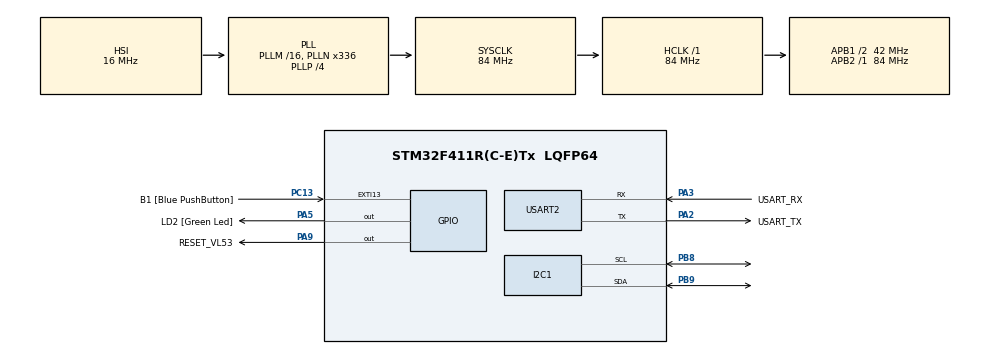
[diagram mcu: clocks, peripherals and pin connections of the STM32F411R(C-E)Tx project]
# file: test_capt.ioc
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Mcu.Family=STM32F4
Mcu.Name=STM32F411R(C-E)Tx
Mcu.Package=LQFP64
NVIC.PriorityGroup=NVIC_PRIORITYGROUP_0
PA13.GPIO_Label=TMS
PA13.Mode=Serial_Wire
PA13.Signal=SYS_JTMS-SWDIO
PA14.GPIO_Label=TCK
PA14.Mode=Serial_Wire
PA14.Signal=SYS_JTCK-SWCLK
PA2.GPIO_Label=USART_TX
PA2.Mode=Asynchronous
PA2.Signal=USART2_TX
PA3.GPIO_Label=USART_RX
PA3.Mode=Asynchronous
PA3.Signal=USART2_RX
PA5.GPIO_Label=LD2 [Green Led]
PA5.Signal=GPIO_Output
PA9.GPIO_Label=RESET_VL53
PA9.Signal=GPIO_Output
PB3.GPIO_Label=SWO
PB3.Signal=SYS_JTDO-SWO
PB8.Mode=I2C
PB8.Signal=I2C1_SCL
PB9.Mode=I2C
PB9.Signal=I2C1_SDA
PC13-ANTI_TAMP.GPIO_Label=B1 [Blue PushButton]
PC13-ANTI_TAMP.GPIO_ModeDefaultEXTI=GPIO_MODE_IT_FALLING
PC13-ANTI_TAMP.Signal=GPXTI13
PC14-OSC32_IN.Mode=LSE-External-Oscillator
PC14-OSC32_IN.Signal=RCC_OSC32_IN
PC15-OSC32_OUT.Mode=LSE-External-Oscillator
PC15-OSC32_OUT.Signal=RCC_OSC32_OUT
PH0\ -\ OSC_IN.Mode=HSE-External-Clock-Source
PH0\ -\ OSC_IN.Signal=RCC_OSC_IN
PH1\ -\ OSC_OUT.Mode=HSE-External-Clock-Source
PH1\ -\ OSC_OUT.Signal=RCC_OSC_OUT
ProjectManager.HeapSize=0x200
ProjectManager.StackSize=0x400
ProjectManager.TargetToolchain=STM32CubeIDE
RCC.48MHZClocksFreq_Value=84000000
RCC.AHBFreq_Value=84000000
RCC.APB1CLKDivider=RCC_HCLK_DIV2
RCC.APB1Freq_Value=42000000
RCC.APB1TimFreq_Value=84000000
RCC.APB2Freq_Value=84000000
RCC.APB2TimFreq_Value=84000000
RCC.CortexFreq_Value=84000000
RCC.FLatency-AdvancedSettings=FLASH_LATENCY_2
RCC.HCLKFreq_Value=84000000
RCC.HSE_VALUE=8000000
RCC.HSI_VALUE=16000000
RCC.PLLN=336
RCC.PLLP=RCC_PLLP_DIV4
RCC.SYSCLKFreq_VALUE=84000000
RCC.SYSCLKSource=RCC_SYSCLKSOURCE_PLLCLK
RCC.VCOOutputFreq_Value=336000000
USART2.VirtualMode=VM_ASYNC
board=NUCLEO-F411RE

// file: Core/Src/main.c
/* USER CODE BEGIN Header */
/**
  ******************************************************************************
  * @file           : main.c
  * @brief          : Main program body
  ******************************************************************************
  * @attention
  *
  * Copyright (c) 2022 STMicroelectronics.
  * All rights reserved.
  *
  * This software is licensed under terms that can be found in the LICENSE file
  * in the root directory of this software component.
  * If no LICENSE file comes with this software, it is provided AS-IS.
  *
  ******************************************************************************
  */
/* USER CODE END Header */
#include "main.h"
#include <stdlib.h>
#include <stdio.h>
#include <string.h>

/* USER CODE BEGIN Includes */
#include "uart_trace.c"
#include "vl53l0x_api.h"

/* USER CODE END Includes */

I2C_HandleTypeDef hi2c1;

UART_HandleTypeDef huart2;

/* USER CODE BEGIN PV */
int status=0;
uint16_t position_courante=0;
char msg3[2];

/* USER CODE END PV */

void SystemClock_Config(void);
static void MX_GPIO_Init(void);
static void MX_USART2_UART_Init(void);
static void MX_I2C1_Init(void);

int main(void)
{
  /* USER CODE BEGIN 1 */
	RangingConfig_e RangingConfig = LONG_RANGE;

  /* USER CODE END 1 */

  /* MCU Configuration--------------------------------------------------------*/

  /* Reset of all peripherals, Initializes the Flash interface and the Systick. */
  HAL_Init();

  /* Configure the system clock */
  SystemClock_Config();

  /* Initialize all configured peripherals */
  MX_GPIO_Init();
  MX_USART2_UART_Init();
  MX_I2C1_Init();
  /* USER CODE BEGIN 2 */
  XNUCLEO53L0A1_hi2c = hi2c1;
  	  ResetAndDetectSensor(0);
  /* Reset and Detect all sensors */
  	  	  ResetAndDetectSensor(0);
  	  SetupSingleShot(RangingConfig);

  /* USER CODE END 2 */

  /* Infinite loop */
  while (1)
  {

    /* USER CODE BEGIN 3 */
	  	  /* only one sensor */
	  /* Call All-In-One blocking API function */
	  	  status = VL53L0X_PerformSingleRangingMeasurement(&VL53L0XDevs[0],
	  			  	  	  	  	  	  	  	  	  &RangingMeasurementData);
	  	  position_courante=RangingMeasurementData.RangeMilliMeter;

	  	sprintf(msg3, "%hu\r\n",position_courante);

	  	  if( status ==0 ){
	  		  trace_printf("\r\n%d", position_courante);

	  		F411_SetDisplayString(msg3);

	  // Sensor_SetNewRange(&VL53L0XDevs[0],&RangingMeasurementData);
	  }
	  	HAL_Delay(1000);
  }
  /* USER CODE END 3 */
}

void SystemClock_Config(void)
{
  RCC_OscInitTypeDef RCC_OscInitStruct = {0};
  RCC_ClkInitTypeDef RCC_ClkInitStruct = {0};

  /** Configure the main internal regulator output voltage
  */
  __HAL_RCC_PWR_CLK_ENABLE();
  __HAL_PWR_VOLTAGESCALING_CONFIG(PWR_REGULATOR_VOLTAGE_SCALE1);
  /** Initializes the RCC Oscillators according to the specified parameters
  * in the RCC_OscInitTypeDef structure.
  */
  RCC_OscInitStruct.OscillatorType = RCC_OSCILLATORTYPE_HSI;
  RCC_OscInitStruct.HSIState = RCC_HSI_ON;
  RCC_OscInitStruct.HSICalibrationValue = RCC_HSICALIBRATION_DEFAULT;
  RCC_OscInitStruct.PLL.PLLState = RCC_PLL_ON;
  RCC_OscInitStruct.PLL.PLLSource = RCC_PLLSOURCE_HSI;
  RCC_OscInitStruct.PLL.PLLM = 16;
  RCC_OscInitStruct.PLL.PLLN = 336;
  RCC_OscInitStruct.PLL.PLLP = RCC_PLLP_DIV4;
  RCC_OscInitStruct.PLL.PLLQ = 4;
  if (HAL_RCC_OscConfig(&RCC_OscInitStruct) != HAL_OK)
  {
    Error_Handler();
  }
  /** Initializes the CPU, AHB and APB buses clocks
  */
  RCC_ClkInitStruct.ClockType = RCC_CLOCKTYPE_HCLK|RCC_CLOCKTYPE_SYSCLK
                              |RCC_CLOCKTYPE_PCLK1|RCC_CLOCKTYPE_PCLK2;
  RCC_ClkInitStruct.SYSCLKSource = RCC_SYSCLKSOURCE_PLLCLK;
  RCC_ClkInitStruct.AHBCLKDivider = RCC_SYSCLK_DIV1;
  RCC_ClkInitStruct.APB1CLKDivider = RCC_HCLK_DIV2;
  RCC_ClkInitStruct.APB2CLKDivider = RCC_HCLK_DIV1;

  if (HAL_RCC_ClockConfig(&RCC_ClkInitStruct, FLASH_LATENCY_2) != HAL_OK)
  {
    Error_Handler();
  }
}

static void MX_I2C1_Init(void)
{

  hi2c1.Instance = I2C1;
  hi2c1.Init.ClockSpeed = 100000;
  hi2c1.Init.DutyCycle = I2C_DUTYCYCLE_2;
  hi2c1.Init.OwnAddress1 = 0;
  hi2c1.Init.AddressingMode = I2C_ADDRESSINGMODE_7BIT;
  hi2c1.Init.DualAddressMode = I2C_DUALADDRESS_DISABLE;
  hi2c1.Init.OwnAddress2 = 0;
  hi2c1.Init.GeneralCallMode = I2C_GENERALCALL_DISABLE;
  hi2c1.Init.NoStretchMode = I2C_NOSTRETCH_DISABLE;
  if (HAL_I2C_Init(&hi2c1) != HAL_OK)
  {
    Error_Handler();
  }

}

static void MX_USART2_UART_Init(void)
{

  huart2.Instance = USART2;
  huart2.Init.BaudRate = 115200;
  huart2.Init.WordLength = UART_WORDLENGTH_8B;
  huart2.Init.StopBits = UART_STOPBITS_1;
  huart2.Init.Parity = UART_PARITY_NONE;
  huart2.Init.Mode = UART_MODE_TX_RX;
  huart2.Init.HwFlowCtl = UART_HWCONTROL_NONE;
  huart2.Init.OverSampling = UART_OVERSAMPLING_16;
  if (HAL_UART_Init(&huart2) != HAL_OK)
  {
    Error_Handler();
  }

}

static void MX_GPIO_Init(void)
{
  GPIO_InitTypeDef GPIO_InitStruct = {0};

  /* GPIO Ports Clock Enable */
  __HAL_RCC_GPIOC_CLK_ENABLE();
  __HAL_RCC_GPIOH_CLK_ENABLE();
  __HAL_RCC_GPIOA_CLK_ENABLE();
  __HAL_RCC_GPIOB_CLK_ENABLE();

  /*Configure GPIO pin Output Level */
  HAL_GPIO_WritePin(GPIOA, LD2_Pin|RESET_VL53_Pin, GPIO_PIN_RESET);

  /*Configure GPIO pin : B1_Pin */
  GPIO_InitStruct.Pin = B1_Pin;
  GPIO_InitStruct.Mode = GPIO_MODE_IT_FALLING;
  GPIO_InitStruct.Pull = GPIO_NOPULL;
  HAL_GPIO_Init(B1_GPIO_Port, &GPIO_InitStruct);

  /*Configure GPIO pins : LD2_Pin RESET_VL53_Pin */
  GPIO_InitStruct.Pin = LD2_Pin|RESET_VL53_Pin;
  GPIO_InitStruct.Mode = GPIO_MODE_OUTPUT_PP;
  GPIO_InitStruct.Pull = GPIO_NOPULL;
  GPIO_InitStruct.Speed = GPIO_SPEED_FREQ_LOW;
  HAL_GPIO_Init(GPIOA, &GPIO_InitStruct);

}

void Error_Handler(void)
{
  __disable_irq();
  while (1)
  {
  }
}
